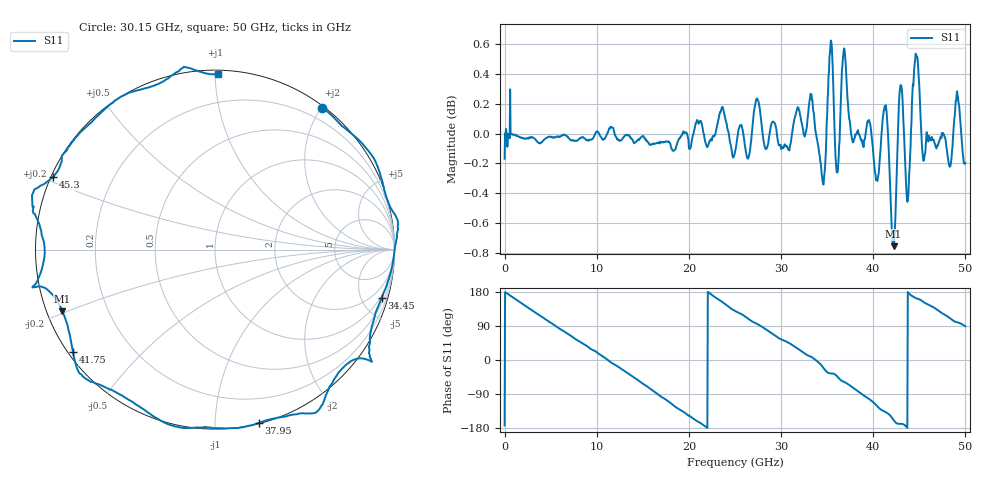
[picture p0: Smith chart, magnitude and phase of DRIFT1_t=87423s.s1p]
!Created with skrf (http://scikit-rf.org).
# Hz S RI R 50.0
!freq ReS11 ImS11
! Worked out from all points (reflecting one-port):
!   1001 points, 300 kHz to 50 GHz, reference 50 ohm
!   lowest |S11| = -0.8 dB at 42.2 GHz (marker M1), VSWR 22.97, Z = 2.26 - j9.71 ohm
!   phase of S11 starts at -173 deg and turns -818 deg over the sweep
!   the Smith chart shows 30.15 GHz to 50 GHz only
!   S11 on the Smith chart (normalised r, x): 30.15 GHz: 0.03, +2.01; 34.45 GHz: 0.85, -6.95; 37.95 GHz: 0.01, -1.28; 41.75 GHz: 0.01, -0.32; 45.3 GHz: 0.01, +0.21; 50 GHz: 0.02, +1.02
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300000  -0.9729 -0.1234
1.450291e9  -0.9125 0.4039
3.25028e9  -0.5933 0.8002
6.250262e9  0.1985 0.9787
9.500243e9  0.8871 0.4522
1.250022e10  0.93 -0.3519
1.580021e10  0.2424 -0.9612
1.73502e10  -0.2111 -0.9708
1.875019e10  -0.5987 -0.7923
2.165017e10  -0.9907 -0.1233
2.345016e10  -0.9294 0.4127
2.500015e10  -0.6261 0.7615
2.745014e10  -0.0824 1.023
3.015012e10  0.5963 0.789
3.125011e10  0.7817 0.6283
3.32001e10  1.018 0.1635
3.445009e10  0.9287 -0.2687
3.520009e10  0.8621 -0.5982
3.750008e10  0.3788 -0.9325
3.795007e10  0.2443 -0.9657
3.965006e10  -0.2555 -0.9749
4.175005e10  -0.7916 -0.5691
4.220005e10  -0.8497 -0.3435
4.290004e10  -1.014 -0.2095
4.375004e10  -0.9497 0.0121
4.530003e10  -0.9017 0.4056
4.765001e10  -0.5138 0.8569
5e10  0.0193 0.9772
